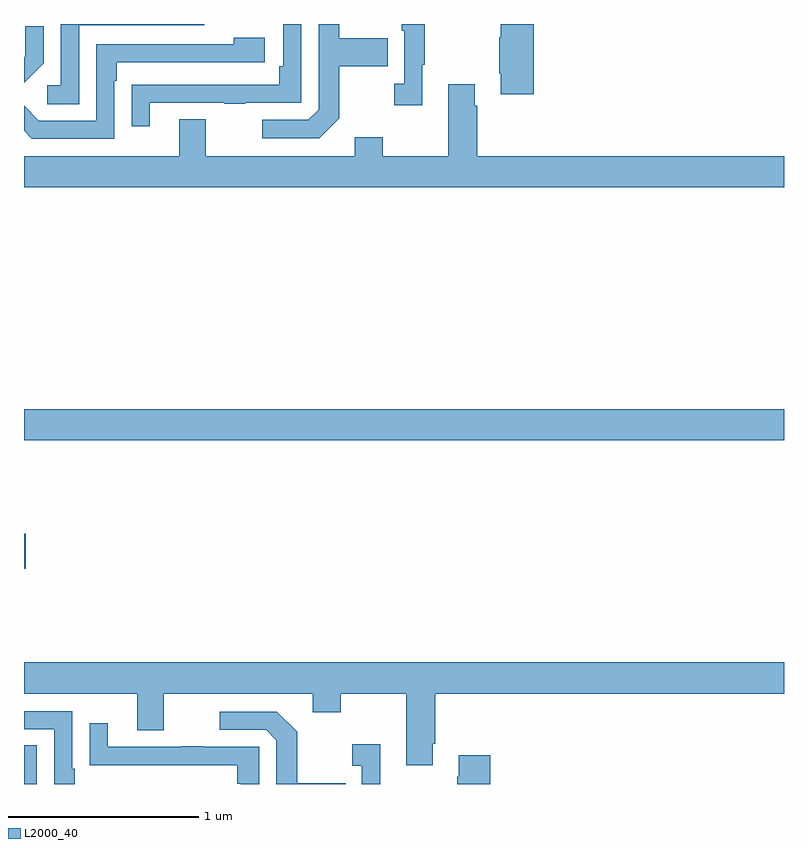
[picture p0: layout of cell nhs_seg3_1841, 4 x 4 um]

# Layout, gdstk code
import gdstk
lib = gdstk.Library(unit=1e-6, precision=1e-09)
def R(c, l, rs):  # rectangles x0, y0, x1, y1
    for r in rs: c.add(gdstk.rectangle(r[:2], r[2:], *l))
def P(c, l, *ps):  # polygons
    for p in ps: c.add(gdstk.Polygon(p, *l))
L2000_40 = (2000, 40)

nhs_seg3_1841 = lib.new_cell('nhs_seg3_1841')
R(nhs_seg3_1841, L2000_40, [(205,740.4,205.068,740.603), (205,741.533,205.009,741.716), (205,742.208,209,742.372)])
P(nhs_seg3_1841, L2000_40, [(205.29,744.393),(205.949,744.393),(205.949,744.4),(205.194,744.4),(205.194,744.078),(205.122,744.078),(205.122,743.977),(205.29,743.977)],
  [(207.097,744.185),(207.109,744.185),(207.109,744.4),(206.988,744.4),(206.988,744.365),(207,744.365),(207,744.086),(206.949,744.086),(206.949,743.973),(207.097,743.973)],
  [(206.659,743.905),(206.659,744.178),(206.915,744.178),(206.915,744.325),(206.659,744.325),(206.659,744.4),(206.55,744.4),(206.55,743.949),(206.496,743.895),(206.253,743.895),(206.253,743.799),(206.553,743.799)],
  [(207.682,744.4),(207.509,744.4),(207.509,744.331),(207.502,744.331),(207.502,744.142),(207.509,744.142),(207.509,744.03),(207.682,744.03)],
  [(205.663,743.985),(206.053,743.985),(206.053,743.98),(206.165,743.98),(206.165,743.985),(206.46,743.985),(206.46,744.4),(206.364,744.4),(206.364,744.178),(206.344,744.178),(206.344,744.081),(205.669,744.081),(205.669,744.08),(205.567,744.08),(205.567,743.862),(205.663,743.862)],
  [(205.104,744.194),(205.104,744.388),(205.007,744.388),(205.007,744.231),(205,744.224),(205,744.09)],
  [(205.476,744.101),(205.489,744.101),(205.489,744.198),(206.266,744.198),(206.266,744.328),(206.105,744.328),(206.105,744.294),(205.38,744.294),(205.38,743.892),(205.077,743.892),(205,743.969),(205,743.837),(205.041,743.796),(205.476,743.796)],
  [(209,743.704),(207.386,743.704),(207.386,743.969),(207.373,743.969),(207.373,744.082),(207.233,744.082),(207.233,743.704),(206.889,743.704),(206.889,743.803),(206.741,743.803),(206.741,743.704),(205.957,743.704),(205.957,743.899),(205.817,743.899),(205.817,743.704),(205,743.704),(205,743.54),(209,743.54)],
  [(207.151,740.611),(207.164,740.611),(207.164,740.876),(209,740.876),(209,741.04),(205,741.04),(205,740.876),(205.595,740.876),(205.595,740.682),(205.735,740.682),(205.735,740.876),(206.519,740.876),(206.519,740.777),(206.667,740.777),(206.667,740.876),(207.011,740.876),(207.011,740.499),(207.151,740.499)],
  [(205.267,740.479),(205.254,740.479),(205.254,740.784),(205,740.784),(205,740.688),(205.158,740.688),(205.158,740.4),(205.267,740.4)],
  [(206.693,740.403),(206.437,740.403),(206.437,740.675),(206.331,740.781),(206.031,740.781),(206.031,740.685),(206.274,740.685),(206.328,740.631),(206.328,740.4),(206.693,740.4)],
  [(206.238,740.595),(205.943,740.595),(205.943,740.6),(205.831,740.6),(205.831,740.595),(205.441,740.595),(205.441,740.719),(205.345,740.719),(205.345,740.5),(205.447,740.5),(205.447,740.499),(206.122,740.499),(206.122,740.402),(206.142,740.402),(206.142,740.4),(206.238,740.4)],
  [(206.875,740.608),(206.727,740.608),(206.727,740.495),(206.778,740.495),(206.778,740.4),(206.875,740.4)],
  [(207.455,740.551),(207.287,740.551),(207.287,740.438),(207.28,740.438),(207.28,740.4),(207.455,740.4)])

lib.write_gds('nhs_seg3_1841.gds')
